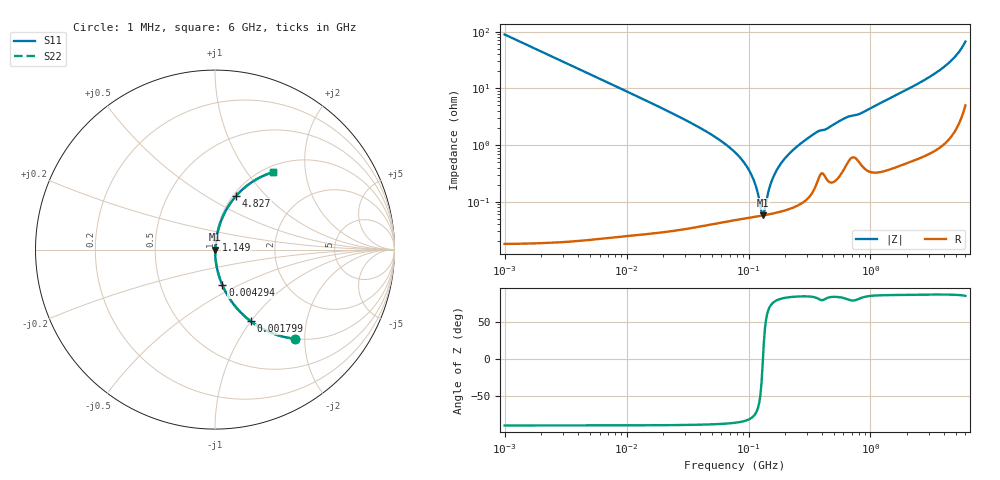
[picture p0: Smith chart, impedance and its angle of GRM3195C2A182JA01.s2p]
!Murata Part Number: GRM3195C2A182JA01
!These Parameters are Measured in Series Mode Connection
!Data Generated on Mar 30, 2021
!  o--ll--o
!Port1  Port2
!  o------o
!Operation Temp=25[degC], DC Bias Voltage=0[V]
!Freq. Start=1000[kHz] Stop=6[GHz] 401[Steps]
# Hz S RI R 50
!Freq.(Hz) S11(Real) S11(Imag) S21(Real) S21(Imag) S12(Real) S12(Imag) S22(Real) S22(Imag)
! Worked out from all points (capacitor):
!   401 points, 1 MHz to 6 GHz, reference 50 ohm
!   read as one part in series: C = 1.78 nF near 1.044 MHz
!   lowest |Z| = 57.8 mohm at 130.5 MHz (marker M1)
!   series resonance near 131.2 MHz, so ESL is about 830 pH
!   S11 on the Smith chart (normalised r, x): 1 MHz: 1.00, -1.79; 1.799 MHz: 1.00, -0.99; 4.294 MHz: 1.00, -0.42; 1.149 GHz: 1.01, +0.10; 4.827 GHz: 1.03, +0.69; 6 GHz: 1.10, +1.34
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1000000  0.444 -0.4967  0.556 0.4967  0.556 0.4967  0.444 -0.4967
1798975  0.1979 -0.3982  0.8021 0.3982  0.8021 0.3982  0.1979 -0.3982
4293785  0.0416 -0.1991  0.9584 0.1991  0.9584 0.1991  0.0416 -0.1991
1.843659e7  0.00253 -0.0473  0.9975 0.0473  0.9975 0.0473  0.00253 -0.0473
4.596069e7  0.000674 -0.0169  0.9993 0.0169  0.9993 0.0169  0.000674 -0.0169
7.745967e7  0.00053 -0.00744  0.9995 0.00744  0.9995 0.00744  0.00053 -0.00744
9.218041e7  0.000529 -0.00486  0.9995 0.00486  0.9995 0.00486  0.000529 -0.00486
1.050294e8  0.000538 -0.00302  0.9995 0.00302  0.9995 0.00302  0.000538 -0.00302
1.145757e8  0.000549 -0.00183  0.9995 0.00183  0.9995 0.00183  0.000549 -0.00183
1.249896e8  0.000564 -0.000656  0.9994 0.000656  0.9994 0.000656  0.000564 -0.000656
1.305463e8  0.000573 -7.03e-05  0.9994 7.03e-05  0.9994 7.03e-05  0.000573 -7.03e-05
1.363501e8  0.000583 0.000516  0.9994 -0.000516  0.9994 -0.000516  0.000583 0.000516
1.455431e8  0.000601 0.0014  0.9994 -0.0014  0.9994 -0.0014  0.000601 0.0014
1.553559e8  0.000621 0.00229  0.9994 -0.00229  0.9994 -0.00229  0.000621 0.00229
1.809028e8  0.000684 0.00441  0.9993 -0.00441  0.9993 -0.00441  0.000684 0.00441
2.297971e8  0.000847 0.00801  0.9992 -0.00801  0.9992 -0.00801  0.000847 0.00801
3.325952e8  0.00165 0.0149  0.9983 -0.0149  0.9983 -0.0149  0.00165 0.0149
1.148954e9  0.00596 0.0516  0.994 -0.0516  0.994 -0.0516  0.00596 0.0516
1.428092e9  0.00799 0.0654  0.992 -0.0654  0.992 -0.0654  0.00799 0.0654
3.057346e9  0.0314 0.1537  0.9686 -0.1537  0.9686 -0.1537  0.0314 0.1537
4.827224e9  0.1173 0.2988  0.8827 -0.2988  0.8827 -0.2988  0.1173 0.2988
6e9  0.3219 0.4312  0.6781 -0.4312  0.6781 -0.4312  0.3219 0.4312
